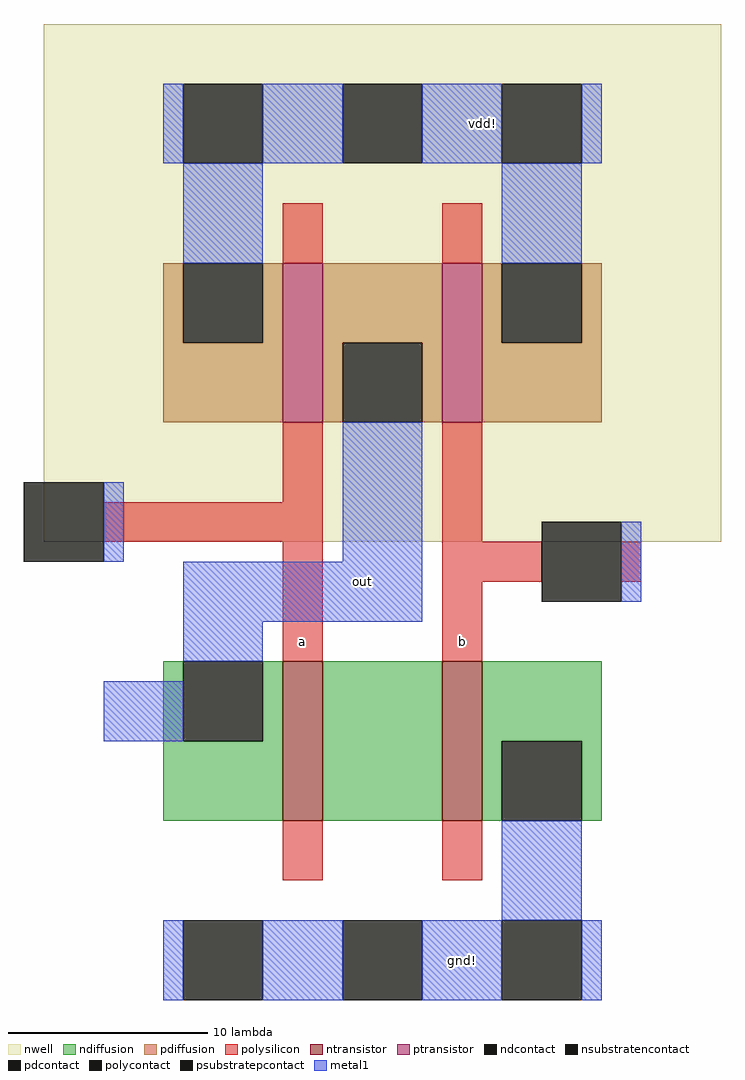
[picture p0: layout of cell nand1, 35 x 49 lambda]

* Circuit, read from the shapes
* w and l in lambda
.subckt nand1 a b gnd! out vdd!
M1 n1 a out gnd! nfet w=8 l=2
M2 gnd! b n1 gnd! nfet w=8 l=2
M3 out a vdd! vdd! pfet w=8 l=2
M4 vdd! b out vdd! pfet w=8 l=2
.ends

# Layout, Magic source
magic
tech min2
<< nwell >>
rect -4 8 30 34
<< ntransistor >>
rect 8 -6 10 2
rect 16 -6 18 2
<< ptransistor >>
rect 8 14 10 22
rect 16 14 18 22
<< ndiffusion >>
rect 2 -2 3 2
rect 7 -2 8 2
rect 2 -6 8 -2
rect 10 -6 16 2
rect 18 -2 24 2
rect 18 -6 19 -2
rect 23 -6 24 -2
<< pdiffusion >>
rect 2 18 3 22
rect 7 18 8 22
rect 2 14 8 18
rect 10 18 16 22
rect 10 14 11 18
rect 15 14 16 18
rect 18 18 19 22
rect 23 18 24 22
rect 18 14 24 18
<< ndcontact >>
rect 3 -2 7 2
rect 19 -6 23 -2
<< pdcontact >>
rect 3 18 7 22
rect 11 14 15 18
rect 19 18 23 22
<< psubstratepcontact >>
rect 3 -15 7 -11
rect 11 -15 15 -11
rect 19 -15 23 -11
<< nsubstratencontact >>
rect 3 27 7 31
rect 11 27 15 31
rect 19 27 23 31
<< polysilicon >>
rect 8 22 10 25
rect 16 22 18 25
rect 8 10 10 14
rect -1 8 10 10
rect 8 2 10 8
rect 16 8 18 14
rect 16 6 21 8
rect 16 2 18 6
rect 25 6 26 8
rect 8 -9 10 -6
rect 16 -9 18 -6
<< polycontact >>
rect -5 7 -1 11
rect 21 5 25 9
<< metal1 >>
rect 2 27 3 31
rect 7 27 11 31
rect 15 27 19 31
rect 23 27 24 31
rect 3 22 7 27
rect 19 22 23 27
rect -1 7 0 11
rect 11 7 15 14
rect 3 4 15 7
rect 25 5 26 9
rect 3 2 7 4
rect -1 -2 3 1
rect 19 -11 23 -6
rect 2 -15 3 -11
rect 7 -15 11 -11
rect 15 -15 19 -11
rect 23 -15 24 -11
<< labels >>
rlabel polysilicon 9 3 9 3 1 a
rlabel polysilicon 17 3 17 3 1 b
rlabel metal1 12 6 12 6 1 out
rlabel metal1 18 29 18 29 5 vdd!
rlabel metal1 17 -13 17 -13 1 gnd!
<< end >>
